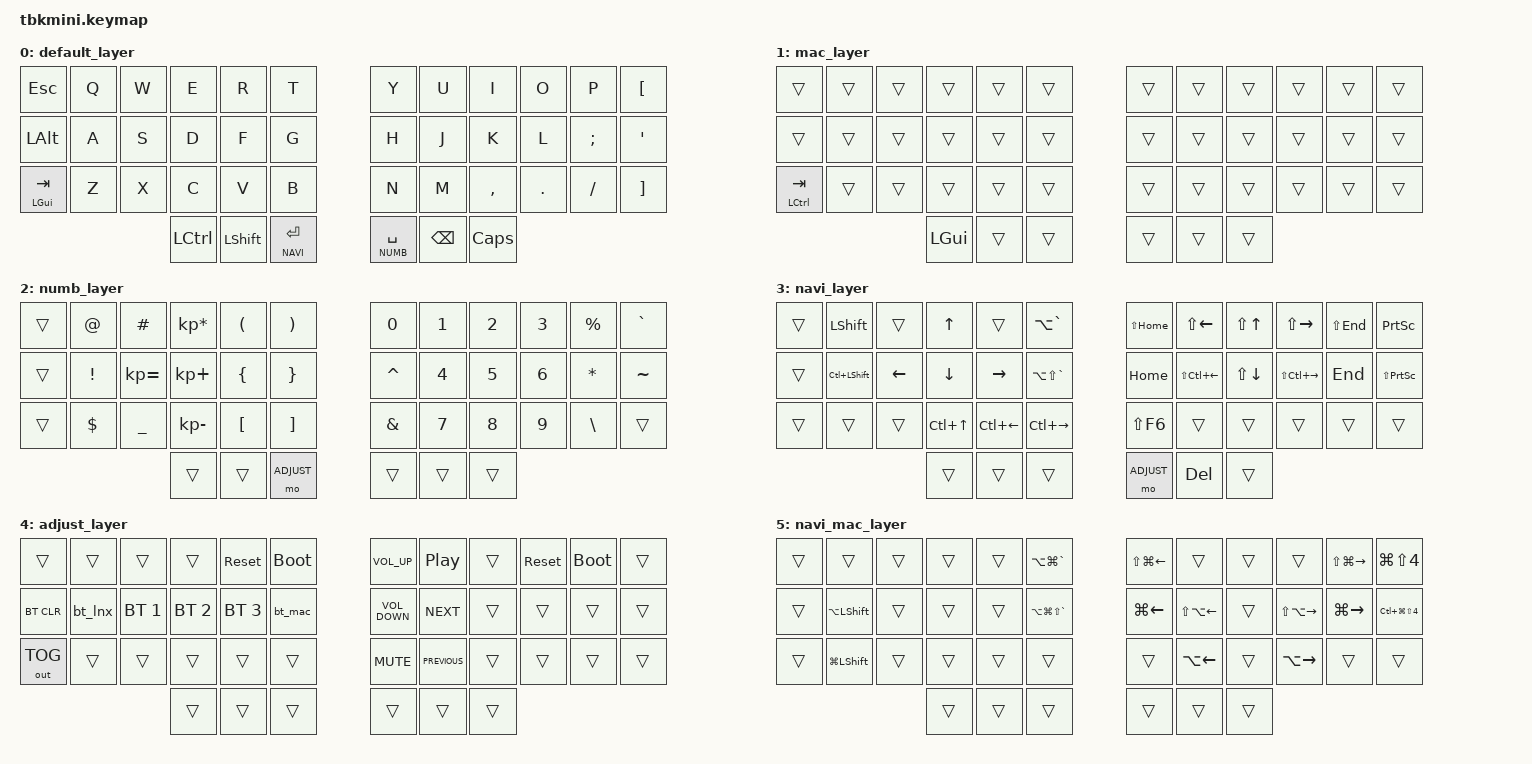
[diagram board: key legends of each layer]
#include <behaviors.dtsi>
#include <dt-bindings/zmk/keys.h>
#include <dt-bindings/zmk/outputs.h>
#include <dt-bindings/zmk/bt.h>

// ─── Layer indices (MUST match order in keymap node) ─────────────
// MAC sits below NUMB/NAVI/ADJUST so it overrides only the base
// layer keys (corner + thumb1) and never shadows the other layers.
#define QWERTY   0
#define MAC      1
#define NUMB     2
#define NAVI     3
#define ADJUST   4
#define NAVI_MAC 5

// ─── Key positions reference ─────────────────────────────────────
//  0  1  2  3  4  5  │  6  7  8  9 10 11
// 12 13 14 15 16 17  │ 18 19 20 21 22 23
// 24 25 26 27 28 29  │ 30 31 32 33 34 35
//          36 37 38  │ 39 40 41

&lt {
  tapping-term-ms = <300>;
  quick-tap-ms = <200>;
  flavor = "hold-preferred";
};

&mt {
  tapping-term-ms = <250>;
  quick-tap-ms = <200>;
  flavor = "hold-preferred";
};

/ {
  chosen {
    zmk,matrix_transform = &default_transform;
  };

  macros {
    // Selecting a BT profile also switches the OS mode: profile 0
    // is the Ubuntu machine (base layer is Linux-native), profile 4
    // is the mac (enables the MAC overlay). &to disables all other
    // non-default layers, so the two modes can never stack.
    bt_lnx: bt_lnx {
      compatible = "zmk,behavior-macro";
      #binding-cells = <0>;
      bindings = <&bt BT_SEL 0>, <&to QWERTY>;
    };

    bt_mac: bt_mac {
      compatible = "zmk,behavior-macro";
      #binding-cells = <0>;
      bindings = <&bt BT_SEL 4>, <&to MAC>;
    };
  };

  // NAVI_MAC auto-activates when NAVI is held in mac mode and
  // overrides the OS-specific text selection / window keys.
  conditional_layers {
    compatible = "zmk,conditional-layers";

    navi_mac {
      if-layers = <NAVI MAC>;
      then-layer = <NAVI_MAC>;
    };
  };

  keymap {
    compatible = "zmk,keymap";

    default_layer {
// Linux-native base. Corner: hold Super, tap Tab. Thumb1: Ctrl.
// (In mac mode the MAC overlay turns corner into Ctrl/Tab and
// thumb1 into Cmd, so copy-paste stays on the same finger.)
// .--------------------------------------------------------------.       .------------------------------------------------------------.
// |   ESC        |    Q    |    W   |   E    |    R    |    T    |       |   Y    |    U    |    I    |    O    |     P    |     [    |
// |--------------+---------+--------+--------+---------+---------|       |--------+---------+---------+---------+----------+----------|
// |   ALT        |    A    |    S   |   D    |    F    |    G    |       |   H    |    J    |    K    |    L    |     ;    |     '    |
// |--------------+---------+--------+--------+---------+---------|       |--------+---------+---------+---------+----------+----------|
// | SUPER/TAB    |    Z    |    X   |   C    |    V    |    B    |       |   N    |    M    |    ,    |    .    |     /    |     ]    |
// '---------------------------------+--------+---------+---------+       |--------+---------+---------+-------------------------------'
//                                   |  CTRL  |  SHIFT  | NAVI/ENT|       |NUMB/SPC|   BKSP  |   CAPS  |
//                                   '--------+---------+---------'       '--------+---------+---------'
      bindings = <
   &kp ESC       &kp Q       &kp W      &kp E     &kp R       &kp T         &kp Y            &kp U        &kp I              &kp O     &kp P      &kp LBKT
   &kp LALT      &kp A       &kp S      &kp D     &kp F       &kp G         &kp H            &kp J        &kp K              &kp L     &kp SEMI   &kp SQT
   &mt LGUI TAB  &kp Z       &kp X      &kp C     &kp V       &kp B         &kp N            &kp M        &kp COMMA          &kp DOT   &kp FSLH   &kp RBKT
                                        &kp LCTRL &kp LSHFT   &lt NAVI RET  &lt NUMB SPACE   &kp BSPC     &kp CAPSLOCK
      >;
    };

    mac_layer {
// Overlay enabled by bt_mac: corner -> Ctrl/Tab, thumb1 -> Cmd.
      bindings = <
   &trans        &trans      &trans     &trans    &trans      &trans        &trans           &trans       &trans             &trans    &trans     &trans
   &trans        &trans      &trans     &trans    &trans      &trans        &trans           &trans       &trans             &trans    &trans     &trans
   &mt LCTRL TAB &trans      &trans     &trans    &trans      &trans        &trans           &trans       &trans             &trans    &trans     &trans
                                        &kp LGUI  &trans      &trans        &trans           &trans       &trans
      >;
    };

    numb_layer {
// KP_* codes keep - and = working in the Russian layout too.
// .--------------------------------------------------------------.       .-----------------------------------------------------------.
// |   ESC        |    @    |    #   |    *   |    (    |    )    |       |   0   |    1    |    2    |    3    |     %    |    `     |
// |--------------+---------+--------+--------+---------+---------|       |-------+---------+---------+---------+----------+----------|
// |   ALT        |    !    |    =   |    +   |    {    |    }    |       |   ^   |    4    |    5    |    6    |     *    |    ~     |
// |--------------+---------+--------+--------+---------+---------|       |-------+---------+---------+---------+----------+----------|
// | SUPER/TAB    |    $    |    _   |    -   |    [    |    ]    |       |   &   |    7    |    8    |    9    |     \    |          |
// '---------------------------------+--------+---------+---------+       |-------+---------+---------+-------------------------------'
//                                   |  CTRL  |  SHIFT  |  ADJUST |       |███████|   BKSP  |   CAPS  |
//                                   '--------+---------+---------'       '-------+---------+---------'
      bindings = <
   &trans       &kp AT            &kp HASH          &kp KP_MULTIPLY    &kp LPAR         &kp RPAR                  &kp N0            &kp N1            &kp N2            &kp N3            &kp PRCNT          &kp GRAVE
   &trans       &kp EXCL          &kp KP_EQUAL      &kp KP_PLUS        &kp LEFT_BRACE   &kp RIGHT_BRACE           &kp CARET         &kp N4            &kp N5            &kp N6            &kp ASTRK          &kp TILDE
   &trans       &kp DLLR          &kp UNDERSCORE    &kp KP_SUBTRACT    &kp LEFT_BRACKET &kp RIGHT_BRACKET         &kp AMPS          &kp N7            &kp N8            &kp N9            &kp BSLH           &trans
                                                    &trans             &trans           &mo ADJUST                &trans            &trans            &trans
      >;
    };

    navi_layer {
// Linux-native. Left: arrows + workspace keys. Right: text
// selection and line/word navigation (mac mode overrides these
// via NAVI_MAC). NAVI+BKSP = Delete.
//
// Word jump (Ctrl+Left/Right) is intentionally absent on Linux:
// those combos are bound to workspace switching in GNOME.
// .-----------------------------------------------------------------.       .---------------------------------------------------------------.
// |         |  SHIFT  |        |   UP   |          |     ALT+`      |       | SEL_BOL |  S+LEFT  |  S+UP   | S+RIGHT | SEL_EOL |    PrtSc    |
// |---------+---------+--------+--------+----------+----------------|       |---------+----------+---------+---------+---------+-------------|
// |         |CTL+SHIFT|  LEFT  |  DOWN  |   RIGHT  |  ALT+SHIFT+`   |       |  HOME   | SEL_W_LT | S+DOWN  | SEL_W_RT|   END   | SHIFT+PrtSc |
// |---------+---------+--------+--------+----------+----------------|       |---------+----------+---------+---------+---------+-------------|
// |         |         |        |CTRL+UP |CTRL+LEFT |   CTRL+RIGHT   |       |SHIFT+F6 |          |         |         |         |             |
// '----------------------------+--------+----------+----------------+       |---------+----------+---------+-----------------------------------'
//                              |  CTRL  |  SHIFT   |████████████████|       | ADJUST  |   DEL    |   CAPS  |
//                              '--------+----------+----------------'       '---------+----------+---------'
      bindings = <
   &trans    &kp LSHFT         &trans             &kp UP            &trans              &kp LA(GRAVE)           &kp LS(HOME)      &kp LS(LEFT)      &kp LS(UP)        &kp LS(RIGHT)      &kp LS(END)       &kp PSCRN
   &trans    &kp LC(LSHFT)     &kp LEFT           &kp DOWN          &kp RIGHT           &kp LA(LS(GRAVE))       &kp HOME          &kp LS(LC(LEFT))  &kp LS(DOWN)      &kp LS(LC(RIGHT))  &kp END           &kp LS(PSCRN)
   &trans    &trans            &trans             &kp LC(UP)        &kp LC(LEFT)        &kp LC(RIGHT)           &kp LS(F6)        &trans            &trans            &trans             &trans            &trans
                                                  &trans            &trans              &trans                  &mo ADJUST        &kp DEL           &trans
      >;
    };

    adjust_layer {
// Outer BT keys bind profile + OS mode together. RST/BOOT on both
// halves: flashing without touching the physical reset button.
// .--------------------------------------------------------.       .------------------------------------------------------------------.
// |         |        |        |        |   RST   |  BOOT   |       |  VOL+  | PLAY/PAUSE |         |   RST   |   BOOT   |             |
// |---------+--------+--------+--------+---------+---------|       |--------+------------+---------+---------+----------+-------------|
// |  BTCLR  | BT1+LNX|  BT2   |  BT3   |  BT4    | BT5+MAC |       |  VOL-  |    NEXT    |         |         |          |             |
// |---------+--------+--------+--------+---------+---------|       |--------+------------+---------+---------+----------+-------------|
// | OUT_TOG |        |        |        |         |         |       |  MUTE  |  PREVIOUS  |         |         |          |             |
// '---------------------------+--------+---------+---------+       |--------+------------+---------+----------------------------------'
//                             |        |         |         |       |        |            |         |
//                             '--------+---------+---------'       '--------+------------+---------'
      bindings = <
   &trans           &trans          &trans         &trans          &sys_reset      &bootloader       &kp C_VOLUME_UP    &kp C_PLAY_PAUSE &trans &sys_reset &bootloader &trans
   &bt BT_CLR       &bt_lnx         &bt BT_SEL 1   &bt BT_SEL 2    &bt BT_SEL 3    &bt_mac           &kp C_VOLUME_DOWN  &kp C_NEXT       &trans &trans     &trans      &trans
   &out OUT_TOG     &trans          &trans         &trans          &trans          &trans            &kp C_MUTE         &kp C_PREVIOUS   &trans &trans     &trans      &trans
                                                   &trans          &trans          &trans            &trans             &trans           &trans
      >;
    };

    navi_mac_layer {
// Conditional (NAVI + MAC): mac flavors of the NAVI right side,
// window cycling and screenshots. Everything &trans falls through
// to the Linux-native NAVI layer.
// .-----------------------------------------------------------------.       .-------------------------------------------------------------------------.
// |         |         |        |        |          |   ALT+CMD+`    |       |SEL_BOL(S⌘←)|  S+LEFT |  S+UP  | S+RIGHT|SEL_EOL(S⌘→)|   CMD+SHIFT+4     |
// |---------+---------+--------+--------+----------+----------------|       |------------+---------+--------+--------+------------+-------------------|
// |         |ALT+SHIFT|        |        |          |ALT+CMD+SHIFT+` |       | HOME(⌘←)   |SEL_W(⇧⌥←)| S+DOWN|SEL_W(⇧⌥→)| END(⌘→)  |CTRL+CMD+SHIFT+4   |
// |---------+---------+--------+--------+----------+----------------|       |------------+---------+--------+--------+------------+-------------------|
// |         |CMD+SHIFT|        |        |          |                |       |            | WORD(⌥←)|        | WORD(⌥→)|           |                   |
// '----------------------------+--------+----------+----------------+       |------------+---------+--------+---------------------------------------- '
      bindings = <
   &trans    &trans            &trans             &trans            &trans              &kp LA(LG(GRAVE))       &kp LS(LG(LEFT))  &trans            &trans            &trans             &kp LS(LG(RIGHT)) &kp LG(LS(N4))
   &trans    &kp LA(LSHFT)     &trans             &trans            &trans              &kp LA(LG(LS(GRAVE)))   &kp LG(LEFT)      &kp LS(LA(LEFT))  &trans            &kp LS(LA(RIGHT))  &kp LG(RIGHT)     &kp LC(LG(LS(N4)))
   &trans    &kp LG(LSHFT)     &trans             &trans            &trans              &trans                  &trans            &kp LA(LEFT)      &trans            &kp LA(RIGHT)      &trans            &trans
                                                  &trans            &trans              &trans                  &trans            &trans            &trans
      >;
    };
  };
};
